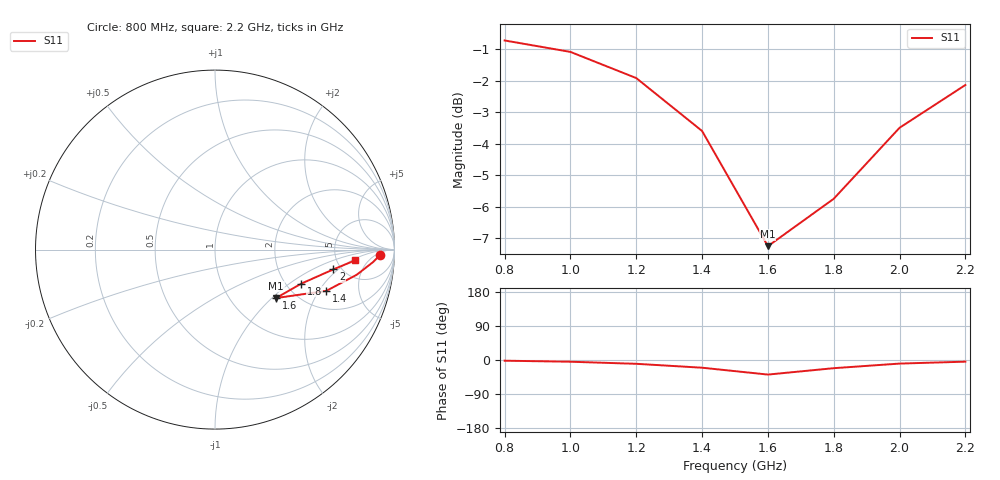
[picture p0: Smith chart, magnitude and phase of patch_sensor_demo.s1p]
! Synthetic patch-antenna example for LitePerm documentation
# GHZ S RI R 50
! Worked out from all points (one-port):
!   8 points, 800 MHz to 2.2 GHz, reference 50 ohm
!   lowest |S11| = -7.2 dB at 1.6 GHz (marker M1), VSWR 2.53, Z = 79.8 - j53.1 ohm
!   |S11| at or under -10 dB: nowhere
!   S11 on the Smith chart (normalised r, x): 800 MHz: 21, -8; 1.4 GHz: 2.85, -2.33; 1.6 GHz: 1.60, -1.06; 1.8 GHz: 2.39, -1.24; 2 GHz: 4.32, -1.72; 2.2 GHz: 7.46, -2.31
0.8  0.92 -0.03
1  0.88 -0.07
1.2  0.79 -0.14
1.4  0.62 -0.23
1.6  0.34 -0.27
1.8  0.48 -0.19
2  0.66 -0.11
2.2  0.78 -0.06
